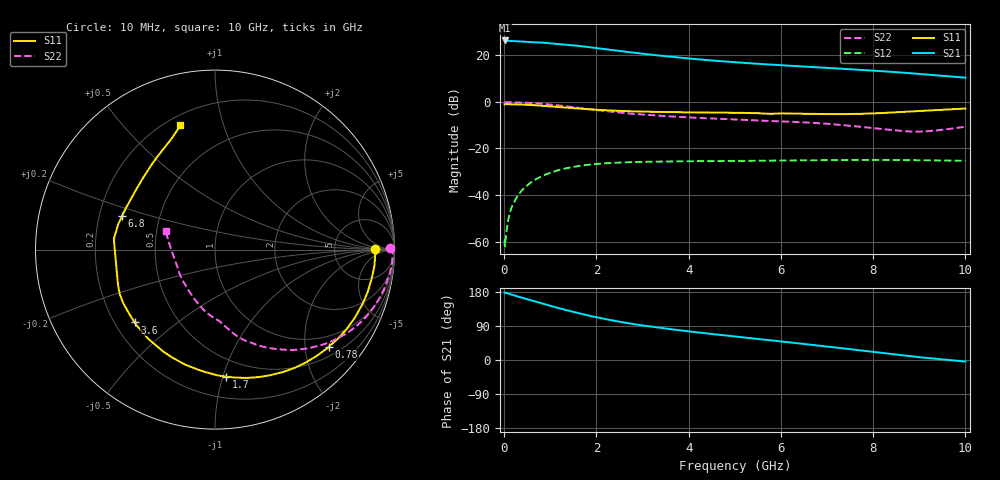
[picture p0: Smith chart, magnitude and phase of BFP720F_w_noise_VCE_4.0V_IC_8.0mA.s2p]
! Infineon Technologies  Discrete & RF Semiconductors
! BFP720F
! VCE =  4.0 V,  IC =  8.0 mA
! Common Emitter S-Parameters:  Jan 2016
# GHz  S  MA  R  50
!  f  S11  S21  S12  S22
! GHz  MAG  ANG  MAG  ANG  MAG  ANG  MAG  ANG
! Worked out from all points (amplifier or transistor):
!   233 points, 10 MHz to 10 GHz, reference 50 ohm
!   highest |S21| = 26.4 dB at 10 MHz (marker M1)
!   |S21| within 3 dB of that: start of sweep to 1.89 GHz
!   unconditionally stable (mu >= 1): start of sweep to 15.58 MHz; 7.04 GHz to end of sweep
!   at 200 MHz: K = 0.13, MSG = 34.9 dB, |S12| = -43.6 dB
!   at 1.74 GHz: K = 0.27, MSG = 25.5 dB, |S12| = -27.2 dB
!   at 10 GHz: K = 1.28, MAG = 14.6 dB, |S12| = -25.3 dB
!   lowest NFmin = 0.50 dB at 450 MHz
!   S11 on the Smith chart (normalised r, x): 10 MHz: 17, +0; 780 MHz: 0.71, -2.54; 1.7 GHz: 0.36, -1.02; 3.6 GHz: 0.28, -0.36; 6.8 GHz: 0.30, +0.16; 10 GHz: 0.25, +0.73
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0.01  0.8887 0.1  20.86 178.7  0.0011 -20.9  0.9776 0.6
0.02  0.8942 -0.9  20.51 176.9  0.0009 57.5  0.9915 -1.2
0.05  0.892 -2.6  20.62 177.0  0.0016 67.2  0.9897 -1.6
0.155  0.8899 -8.1  20.35 172.8  0.0052 79.6  0.988 -5.1
0.42  0.8728 -21.8  19.66 163.0  0.0137 75.0  0.9659 -13.6
0.78  0.8338 -40.5  18.85 150.3  0.0244 65.2  0.9172 -24.8
1  0.8062 -51.6  18.14 142.8  0.0302 59.2  0.8768 -31.3
1.2  0.7788 -61.4  17.42 136.3  0.0347 53.9  0.8365 -36.9
1.4  0.7511 -71.0  16.66 130.0  0.0386 49.0  0.7943 -42.2
1.68  0.7126 -84.2  15.66 121.4  0.0429 42.6  0.7338 -49.1
1.7  0.7104 -85.1  15.57 120.8  0.0432 42.2  0.7295 -49.6
1.98  0.6799 -96.4  14.41 113.2  0.0464 36.6  0.6755 -55.6
2.2  0.6624 -104.4  13.54 107.8  0.0483 32.7  0.6373 -59.9
2.6  0.6372 -116.9  12.07 98.9  0.0504 26.7  0.5791 -66.4
3  0.6208 -126.9  10.84 91.2  0.0517 22.4  0.5361 -71.5
3.4  0.6086 -134.4  9.801 84.7  0.0525 18.9  0.5036 -75.0
3.6  0.6043 -137.8  9.35 81.5  0.0528 17.3  0.4894 -76.5
4.1  0.5952 -144.9  8.381 74.1  0.0533 14.1  0.4597 -79.5
5.1  0.5828 -156.2  6.994 60.8  0.0544 9.4  0.4143 -84.5
6.8  0.5503 159.9  5.522 38.3  0.0562 3.1  0.3496 -98.6
8.4  0.5923 126.2  4.425 15.7  0.0567 -2.8  0.2496 -136.2
10  0.7207 105.5  3.32 -4.1  0.0546 -5.8  0.2938 159.4
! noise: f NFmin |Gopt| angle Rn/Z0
0.45  0.5  0.36  4  0.12
0.9  0.52  0.34  9  0.16
1.8  0.57  0.32  16  0.15
2.4  0.6  0.29  26  0.14
5.5  0.76  0.28  53  0.08
10  0.98  0.26  -98  0.16
